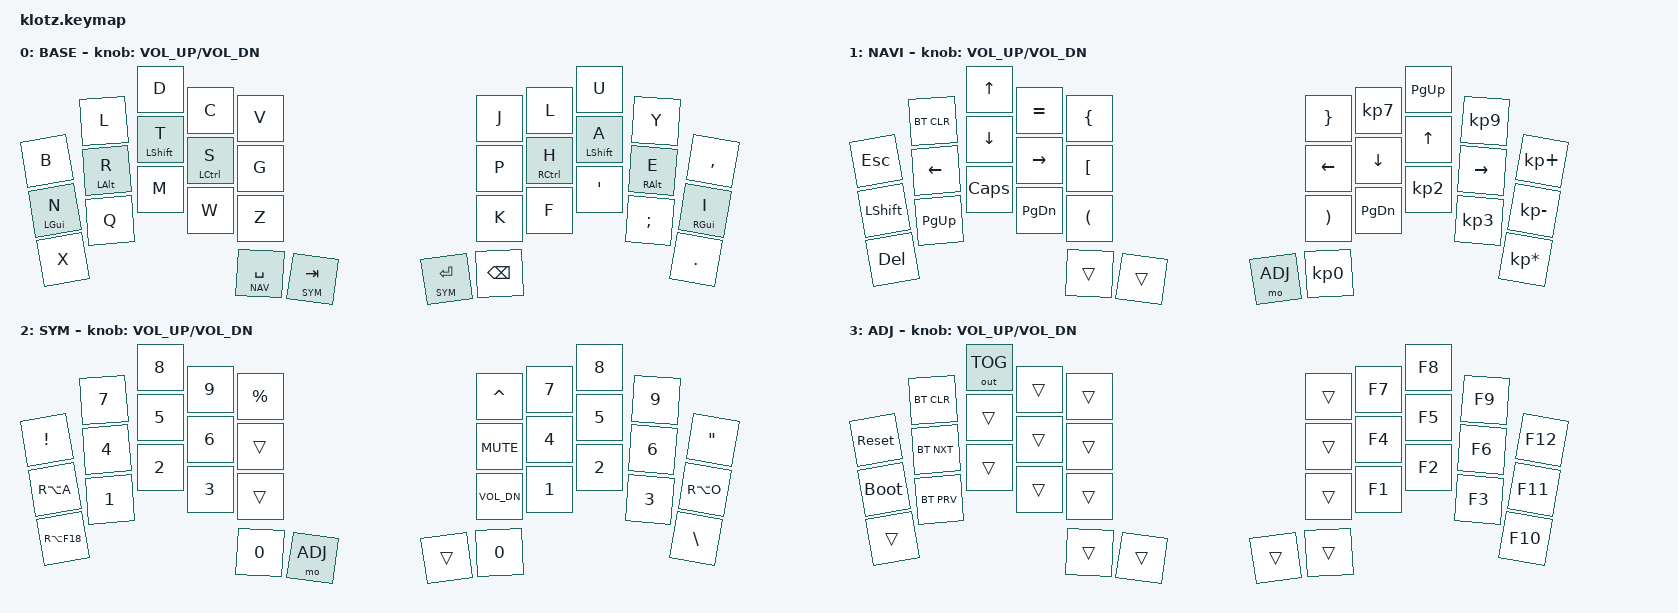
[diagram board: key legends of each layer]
#include <behaviors.dtsi>
#include <dt-bindings/zmk/keys.h>
#include <dt-bindings/zmk/bt.h>
#include <dt-bindings/zmk/outputs.h>

#define BASE 0
#define NAV  1
#define SYM  2
#define ADJ  3

&mt {
  quick-tap-ms = <100>;
  global-quick-tap;
  flavor = "tap-preferred";
  tapping-term-ms = <300>;
};

/ {
    combos {
            compatible = "zmk,combos";
            combo_esc {
                timeout-ms = <50>;
                key-positions = <0 1>;
                bindings = <&kp ESC>;
            };
            combo_lpar {
                timeout-ms = <50>;
                key-positions = <3 13>;
                bindings = <&kp LPAR>;
            };
            combo_rpar {
                timeout-ms = <50>;
                key-positions = <6 16>;
                bindings = <&kp RPAR>;
            };
            combo_lbrc {
                timeout-ms = <50>;
                key-positions = <2 12>;
                bindings = <&kp LBRC>;
            };
            combo_rbrc {
                timeout-ms = <50>;
                key-positions = <7 17>;
                bindings = <&kp RBRC>;
            };
            combo_lbkt {
                timeout-ms = <50>;
                key-positions = <1 11>;
                bindings = <&kp LBKT>;
            };
            combo_rbkt {
                timeout-ms = <50>;
                key-positions = <8 18>;
                bindings = <&kp RBKT>;
            };
    };

    macros {
        gif: gif {
            label = "giphy";
            compatible = "zmk,behavior-macro";
            #binding-cells = <0>;
            bindings
                = <&macro_press &kp LSHFT>
                , <&macro_tap &kp N2>
                , <&macro_release &kp LSHFT>
                , <&macro_tap &kp G &kp I &kp F>
                ;
        };
    };

        keymap {
                compatible = "zmk,keymap";
// ▄▄▄▄▄▄▄▄▄▄▄▄▄▄▄▄▄▄▄▄▄▄▄▄▄▄▄▄▄▄▄▄▄▄▄▄▄▄▄▄▄▄▄▄▄▄▄▄▄▄▄▄▄▄▄▄▄▄▄▄▄▄▄▄▄▄▄▄▄▄▄▄▄▄▄▄▄▄▄▄▄▄▄▄▄▄▄▄▄▄▄▄▄▄▄▄▄▄▄▄▄▄▄▄▄▄▄▄▄▄▄▄▄▄▄▄▄▄▄▄▄▄▄▄▄


                base_layer {
// ┏━━━━━━━━━━━━━━━━━━━━━━━━━━━━━━━━━━━━━━━┓
label= "BASE"                              ;
// ┗━━━━━━━━━━━━━━━━━━━━━━━━━━━━━━━━━━━━━━━┛
// ┏━━━━━━━━━━━┳━━━━━━━━━━━┳━━━━━━━━━━━┳━━━━━━━━━━━┳━━━━━━━━━━━┓   ┏━━━━━━━━━━━┳━━━━━━━━━━━┳━━━━━━━━━━━┳━━━━━━━━━━━┳━━━━━━━━━━━┓
// ┃     B     ┃     L     ┃     D     ┃     C     ┃     V     ┃   ┃     J     ┃     Y     ┃     O     ┃     U     ┃     ,     ┃
// ┣━━━━━━━━━━━╋━━━━━━━━━━━╋━━━━━━━━━━━╋━━━━━━━━━━━╋━━━━━━━━━━━┫   ┣━━━━━━━━━━━╋━━━━━━━━━━━╋━━━━━━━━━━━╋━━━━━━━━━━━╋━━━━━━━━━━━┫
// ┃     N     ┃     R     ┃     T     ┃     S     ┃     G     ┃   ┃     P     ┃     H     ┃     A     ┃     E     ┃     I     ┃
// ┣━━━━━━━━━━━╋━━━━━━━━━━━╋━━━━━━━━━━━╋━━━━━━━━━━━╋━━━━━━━━━━━┫   ┣━━━━━━━━━━━╋━━━━━━━━━━━╋━━━━━━━━━━━╋━━━━━━━━━━━╋━━━━━━━━━━━┫
// ┃     X     ┃     Q     ┃     M     ┃     W     ┃     Z     ┃   ┃     K     ┃     F     ┃     '     ┃     ;     ┃     .     ┃
// ┗━━━━━━━━━━━┻━━━━━━━━━━━┻━━━━━━━━━━━╋━━━━━━━━━━━╋━━━━━━━━━━━┫   ┣━━━━━━━━━━━╋━━━━━━━━━━━╋━━━━━━━━━━━┻━━━━━━━━━━━┻━━━━━━━━━━━┛
//                                     ┃    SPC    ┃    TAB    ┃   ┃   ENTER   ┃   BSPC    ┃
//                                     ┗━━━━━━━━━━━┻━━━━━━━━━━━┛   ┗━━━━━━━━━━━┻━━━━━━━━━━━┛
 bindings = <
// ╷           ╷           ╷           ╷           ╷           ╷   ╷           ╷           ╷           ╷           ╷           ╷

    &kp B       &kp L       &kp D       &kp C       &kp V           &kp J       &kp L       &kp U       &kp Y       &kp COMMA
    &mt LGUI N  &mt LALT R  &mt LSHFT T &mt LCTRL S &kp G           &kp P       &mt RCTRL H &mt LSHFT A &mt RALT E  &mt RGUI I
    &kp X       &kp Q       &kp M       &kp W       &kp Z           &kp K       &kp F       &kp APOS    &kp SEMI    &kp DOT
                                        &lt NAV SPACE  &lt SYM TAB &lt SYM RET &kp BSPC    
                        >;
            sensor-bindings = <&inc_dec_kp C_VOL_UP C_VOL_DN>;
                };

// ▄▄▄▄▄▄▄▄▄▄▄▄▄▄▄▄▄▄▄▄▄▄▄▄▄▄▄▄▄▄▄▄▄▄▄▄▄▄▄▄▄▄▄▄▄▄▄▄▄▄▄▄▄▄▄▄▄▄▄▄▄▄▄▄▄▄▄▄▄▄▄▄▄▄▄▄▄▄▄▄▄▄▄▄▄▄▄▄▄▄▄▄▄▄▄▄▄▄▄▄▄▄▄▄▄▄▄▄▄▄▄▄▄▄▄▄▄▄▄▄▄▄▄▄▄


                nav_layer {
// ┏━━━━━━━━━━━━━━━━━━━━━━━━━━━━━━━━━━━━━━━┓
label= "NAVI"                              ;
// ┗━━━━━━━━━━━━━━━━━━━━━━━━━━━━━━━━━━━━━━━┛
// ┏━━━━━━━━━━━┳━━━━━━━━━━━┳━━━━━━━━━━━┳━━━━━━━━━━━┳━━━━━━━━━━━┓   ┏━━━━━━━━━━━┳━━━━━━━━━━━┳━━━━━━━━━━━┳━━━━━━━━━━━┳━━━━━━━━━━━┓
// ┃           ┃           ┃           ┃           ┃           ┃   ┃           ┃           ┃   P UP    ┃           ┃           ┃
// ┣━━━━━━━━━━━╋━━━━━━━━━━━╋━━━━━━━━━━━╋━━━━━━━━━━━╋━━━━━━━━━━━┫   ┣━━━━━━━━━━━╋━━━━━━━━━━━╋━━━━━━━━━━━╋━━━━━━━━━━━╋━━━━━━━━━━━┫
// ┃           ┃           ┃           ┃           ┃           ┃   ┃   LEFT    ┃   DOWN    ┃    UP     ┃   RIGHT   ┃           ┃
// ┣━━━━━━━━━━━╋━━━━━━━━━━━╋━━━━━━━━━━━╋━━━━━━━━━━━╋━━━━━━━━━━━┫   ┣━━━━━━━━━━━╋━━━━━━━━━━━╋━━━━━━━━━━━╋━━━━━━━━━━━╋━━━━━━━━━━━┫
// ┃           ┃           ┃           ┃           ┃           ┃   ┃           ┃  P DOWN   ┃           ┃           ┃           ┃
// ┗━━━━━━━━━━━┻━━━━━━━━━━━┻━━━━━━━━━━━╋━━━━━━━━━━━╋━━━━━━━━━━━┫   ┣━━━━━━━━━━━╋━━━━━━━━━━━╋━━━━━━━━━━━┻━━━━━━━━━━━┻━━━━━━━━━━━┛
//                                     ┃           ┃           ┃   ┃    DEL    ┃           ┃  
//                                     ┗━━━━━━━━━━━┻━━━━━━━━━━━┛   ┗━━━━━━━━━━━┻━━━━━━━━━━━┛
 bindings = <
// ╷           ╷           ╷           ╷           ╷           ╷   ╷           ╷           ╷           ╷           ╷           ╷

    &kp ESC     &bt BT_CLR  &kp UP      &kp EQUAL   &kp LBRC        &kp RBRC    &kp KP_N7   &kp PG_UP   &kp KP_N9   &kp KP_PLUS
    &kp LSHFT   &kp LEFT    &kp DOWN    &kp RIGHT   &kp LBKT        &kp LEFT    &kp DOWN    &kp UP      &kp RIGHT   &kp KP_MINUS
    &kp DEL     &kp PG_UP   &kp CAPS    &kp PG_DN   &kp LPAR        &kp RPAR    &kp PG_DN   &kp KP_N2   &kp KP_N3   &kp KP_MULTIPLY
                                        &trans      &trans          &mo ADJ     &kp KP_N0  
                        >;
            sensor-bindings = <&inc_dec_kp C_VOL_UP C_VOL_DN>;
                };

// ▄▄▄▄▄▄▄▄▄▄▄▄▄▄▄▄▄▄▄▄▄▄▄▄▄▄▄▄▄▄▄▄▄▄▄▄▄▄▄▄▄▄▄▄▄▄▄▄▄▄▄▄▄▄▄▄▄▄▄▄▄▄▄▄▄▄▄▄▄▄▄▄▄▄▄▄▄▄▄▄▄▄▄▄▄▄▄▄▄▄▄▄▄▄▄▄▄▄▄▄▄▄▄▄▄▄▄▄▄▄▄▄▄▄▄▄▄▄▄▄▄▄▄▄▄


                sim_layer {
// ┏━━━━━━━━━━━━━━━━━━━━━━━━━━━━━━━━━━━━━━━┓
label= "SYM"                               ;
// ┗━━━━━━━━━━━━━━━━━━━━━━━━━━━━━━━━━━━━━━━┛
// ┏━━━━━━━━━━━┳━━━━━━━━━━━┳━━━━━━━━━━━┳━━━━━━━━━━━┳━━━━━━━━━━━┓   ┏━━━━━━━━━━━┳━━━━━━━━━━━┳━━━━━━━━━━━┳━━━━━━━━━━━┳━━━━━━━━━━━┓
// ┃           ┃     7     ┃     8     ┃     9     ┃           ┃   ┃           ┃     7     ┃     8     ┃     9     ┃           ┃
// ┣━━━━━━━━━━━╋━━━━━━━━━━━╋━━━━━━━━━━━╋━━━━━━━━━━━╋━━━━━━━━━━━┫   ┣━━━━━━━━━━━╋━━━━━━━━━━━╋━━━━━━━━━━━╋━━━━━━━━━━━╋━━━━━━━━━━━┫
// ┃           ┃     4     ┃     5     ┃     6     ┃           ┃   ┃           ┃     4     ┃     5     ┃     6     ┃           ┃
// ┣━━━━━━━━━━━╋━━━━━━━━━━━╋━━━━━━━━━━━╋━━━━━━━━━━━╋━━━━━━━━━━━┫   ┣━━━━━━━━━━━╋━━━━━━━━━━━╋━━━━━━━━━━━╋━━━━━━━━━━━╋━━━━━━━━━━━┫
// ┃           ┃     1     ┃     2     ┃     3     ┃           ┃   ┃           ┃     1     ┃     2     ┃     3     ┃           ┃
// ┗━━━━━━━━━━━┻━━━━━━━━━━━┻━━━━━━━━━━━╋━━━━━━━━━━━╋━━━━━━━━━━━┫   ┣━━━━━━━━━━━╋━━━━━━━━━━━╋━━━━━━━━━━━┻━━━━━━━━━━━┻━━━━━━━━━━━┛
//                                     ┃     0     ┃  ADJUST   ┃   ┃           ┃     0     ┃   
//                                     ┗━━━━━━━━━━━┻━━━━━━━━━━━┛   ┗━━━━━━━━━━━┻━━━━━━━━━━━┛
 bindings = <
// ╷           ╷           ╷           ╷           ╷           ╷   ╷           ╷           ╷           ╷           ╷           ╷

    &kp EXCL    &kp N7      &kp N8      &kp N9      &kp PRCNT       &kp CARET    &kp N7      &kp N8     &kp N9      &kp DQT       
    &kp RA(A)   &kp N4      &kp N5      &kp N6      &trans          &kp C_MUTE   &kp N4      &kp N5     &kp N6      &kp RA(O) 
    &kp RA(F18) &kp N1      &kp N2      &kp N3      &trans          &kp C_VOL_DN &kp N1      &kp N2     &kp N3      &kp BSLH      
                                        &kp N0      &mo ADJ         &trans       &kp N0
                        >;
                sensor-bindings = <&inc_dec_kp C_VOL_UP C_VOL_DN>;
                };

// ▄▄▄▄▄▄▄▄▄▄▄▄▄▄▄▄▄▄▄▄▄▄▄▄▄▄▄▄▄▄▄▄▄▄▄▄▄▄▄▄▄▄▄▄▄▄▄▄▄▄▄▄▄▄▄▄▄▄▄▄▄▄▄▄▄▄▄▄▄▄▄▄▄▄▄▄▄▄▄▄▄▄▄▄▄▄▄▄▄▄▄▄▄▄▄▄▄▄▄▄▄▄▄▄▄▄▄▄▄▄▄▄▄▄▄▄▄▄▄▄▄▄▄▄▄


                adjust_layer {
// ┏━━━━━━━━━━━━━━━━━━━━━━━━━━━━━━━━━━━━━━━┓
label= "ADJ"                               ;
// ┗━━━━━━━━━━━━━━━━━━━━━━━━━━━━━━━━━━━━━━━┛
// ┏━━━━━━━━━━━┳━━━━━━━━━━━┳━━━━━━━━━━━┳━━━━━━━━━━━┳━━━━━━━━━━━┓   ┏━━━━━━━━━━━┳━━━━━━━━━━━┳━━━━━━━━━━━┳━━━━━━━━━━━┳━━━━━━━━━━━┓
// ┃   RESET   ┃ BT CLEAR  ┃  OUT TOG  ┃           ┃           ┃   ┃           ┃    F7     ┃    F8     ┃    F9     ┃    F12    ┃
// ┣━━━━━━━━━━━╋━━━━━━━━━━━╋━━━━━━━━━━━╋━━━━━━━━━━━╋━━━━━━━━━━━┫   ┣━━━━━━━━━━━╋━━━━━━━━━━━╋━━━━━━━━━━━╋━━━━━━━━━━━╋━━━━━━━━━━━┫
// ┃ BOOTLOAD  ┃ BT NEXT   ┃           ┃           ┃           ┃   ┃           ┃    F4     ┃    F5     ┃    F6     ┃    F11    ┃
// ┣━━━━━━━━━━━╋━━━━━━━━━━━╋━━━━━━━━━━━╋━━━━━━━━━━━╋━━━━━━━━━━━┫   ┣━━━━━━━━━━━╋━━━━━━━━━━━╋━━━━━━━━━━━╋━━━━━━━━━━━╋━━━━━━━━━━━┫
// ┃           ┃ BT PREV   ┃           ┃           ┃           ┃   ┃           ┃    F1     ┃    F2     ┃    F3     ┃    F10    ┃
// ┗━━━━━━━━━━━┻━━━━━━━━━━━┻━━━━━━━━━━━╋━━━━━━━━━━━╋━━━━━━━━━━━┫   ┣━━━━━━━━━━━╋━━━━━━━━━━━╋━━━━━━━━━━━┻━━━━━━━━━━━┻━━━━━━━━━━━┛
//                                     ┃           ┃           ┃   ┃           ┃           ┃
//                                     ┗━━━━━━━━━━━┻━━━━━━━━━━━┛   ┗━━━━━━━━━━━┻━━━━━━━━━━━┛
 bindings = <
// ╷           ╷           ╷           ╷           ╷           ╷   ╷           ╷           ╷           ╷           ╷           ╷

    &sys_reset      &bt BT_CLR &out OUT_TOG &trans      &trans          &trans      &kp F7      &kp F8      &kp F9      &kp F12
    &bootloader &bt BT_NXT  &trans      &trans      &trans          &trans      &kp F4      &kp F5      &kp F6      &kp F11  
    &trans      &bt BT_PRV  &trans      &trans      &trans          &trans      &kp F1      &kp F2      &kp F3      &kp F10     
                                        &trans      &trans          &trans      &trans
                        >;
            sensor-bindings = <&inc_dec_kp C_VOL_UP C_VOL_DN>;
                };
        };
};
